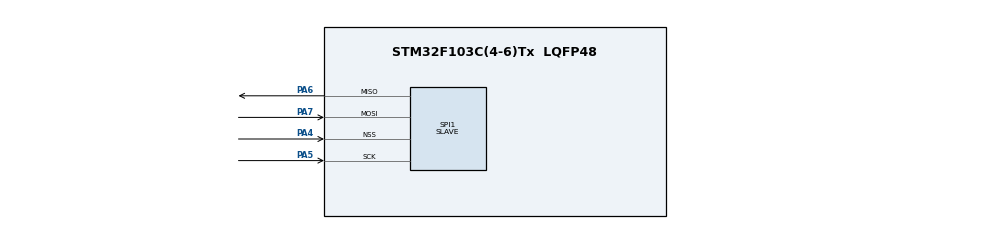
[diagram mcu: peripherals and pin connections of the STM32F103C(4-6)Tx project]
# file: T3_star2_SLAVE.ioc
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Mcu.Family=STM32F1
Mcu.Name=STM32F103C(4-6)Tx
Mcu.Package=LQFP48
NVIC.PriorityGroup=NVIC_PRIORITYGROUP_4
PA4.Mode=NSS_Signal_Hard_Input
PA4.Signal=SPI1_NSS
PA5.Mode=Full_Duplex_Slave
PA5.Signal=SPI1_SCK
PA6.Mode=Full_Duplex_Slave
PA6.Signal=SPI1_MISO
PA7.Mode=Full_Duplex_Slave
PA7.Signal=SPI1_MOSI
ProjectManager.HeapSize=0x200
ProjectManager.StackSize=0x400
ProjectManager.TargetToolchain=STM32CubeIDE
RCC.APB1Freq_Value=8000000
RCC.APB2Freq_Value=8000000
SPI1.Direction=SPI_DIRECTION_2LINES
SPI1.Mode=SPI_MODE_SLAVE
SPI1.VirtualNSS=VM_NSSHARD
SPI1.VirtualType=VM_SLAVE
VP_SYS_VS_ND.Mode=No_Debug
board=custom

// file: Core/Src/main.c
/* USER CODE BEGIN Header */
/**
  ******************************************************************************
  * @file           : main.c
  * @brief          : Main program body
  ******************************************************************************
  * @attention
  *
  * Copyright (c) 2025 STMicroelectronics.
  * All rights reserved.
  *
  * This software is licensed under terms that can be found in the LICENSE file
  * in the root directory of this software component.
  * If no LICENSE file comes with this software, it is provided AS-IS.
  *
  ******************************************************************************
  */
/* USER CODE END Header */
#include "main.h"

/* USER CODE BEGIN PTD */
typedef struct {
    uint16_t case_id;
    float voltage;
    uint16_t speed;
} Case_t;

Case_t cases[5] = {
    {0x1001, 12.3, 200},
    {0x1002, 14.2, 150},
    {0x1003, 13.8, 100},
    {0x1004, 11.5, 220},
    {0x1005, 10.9, 280}
};

/* USER CODE END PTD */

SPI_HandleTypeDef hspi1;

void SystemClock_Config(void);
static void MX_GPIO_Init(void);
static void MX_SPI1_Init(void);

/* USER CODE BEGIN 0 */
static uint32_t encode_data(float voltage, uint16_t speed) {
  uint16_t v = (uint16_t)(voltage * 10.0f); // 12.3 -> 123
  return (((uint32_t)v) << 12) | (speed & 0x0FFF);
}
/* USER CODE END 0 */

int main(void)
{

  /* MCU Configuration--------------------------------------------------------*/

  /* Reset of all peripherals, Initializes the Flash interface and the Systick. */
  HAL_Init();

  /* Configure the system clock */
  SystemClock_Config();

  /* Initialize all configured peripherals */
  MX_GPIO_Init();
  MX_SPI1_Init();
  hspi1.Init.NSS = SPI_NSS_HARD_INPUT;
  HAL_SPI_Init(&hspi1);
  /* USER CODE BEGIN 2 */

    uint8_t rx_case_id[2];
    uint8_t tx_data[3];
    uint8_t dummy_rx[3];
    uint8_t tx_dummy[2] = {0xFF, 0xFF};
    uint8_t rx_dummy[2] = {0xFF, 0xFF};

  /* USER CODE END 2 */

  /* Infinite loop */
  /* USER CODE BEGIN WHILE */
    while (1)
    {
        HAL_SPI_TransmitReceive(&hspi1, tx_dummy, rx_case_id, 2, HAL_MAX_DELAY);

        uint16_t case_id = ((uint16_t)rx_case_id[0] << 8) | rx_case_id[1];

        // Lookup case
        uint32_t encoded = 0;
        for (int i = 0; i < 5; i++)
        {
            if (cases[i].case_id == case_id)
            {
                uint16_t v = (uint16_t)(cases[i].voltage * 10.0f);
                encoded = ((uint32_t)v << 12) | (cases[i].speed & 0x0FFF);
                break;
            }
        }

        uint8_t tx_data[3] = {
            (encoded >> 16) & 0xFF,
            (encoded >> 8) & 0xFF,
            encoded & 0xFF};

        HAL_SPI_Transmit(&hspi1, tx_data, 3, HAL_MAX_DELAY);
    }
  /* USER CODE END 3 */
}

void SystemClock_Config(void)
{
  RCC_OscInitTypeDef RCC_OscInitStruct = {0};
  RCC_ClkInitTypeDef RCC_ClkInitStruct = {0};

  /** Initializes the RCC Oscillators according to the specified parameters
  * in the RCC_OscInitTypeDef structure.
  */
  RCC_OscInitStruct.OscillatorType = RCC_OSCILLATORTYPE_HSI;
  RCC_OscInitStruct.HSIState = RCC_HSI_ON;
  RCC_OscInitStruct.HSICalibrationValue = RCC_HSICALIBRATION_DEFAULT;
  RCC_OscInitStruct.PLL.PLLState = RCC_PLL_NONE;
  if (HAL_RCC_OscConfig(&RCC_OscInitStruct) != HAL_OK)
  {
    Error_Handler();
  }

  /** Initializes the CPU, AHB and APB buses clocks
  */
  RCC_ClkInitStruct.ClockType = RCC_CLOCKTYPE_HCLK|RCC_CLOCKTYPE_SYSCLK
                              |RCC_CLOCKTYPE_PCLK1|RCC_CLOCKTYPE_PCLK2;
  RCC_ClkInitStruct.SYSCLKSource = RCC_SYSCLKSOURCE_HSI;
  RCC_ClkInitStruct.AHBCLKDivider = RCC_SYSCLK_DIV1;
  RCC_ClkInitStruct.APB1CLKDivider = RCC_HCLK_DIV1;
  RCC_ClkInitStruct.APB2CLKDivider = RCC_HCLK_DIV1;

  if (HAL_RCC_ClockConfig(&RCC_ClkInitStruct, FLASH_LATENCY_0) != HAL_OK)
  {
    Error_Handler();
  }
}

static void MX_SPI1_Init(void)
{

  /* SPI1 parameter configuration*/
  hspi1.Instance = SPI1;
  hspi1.Init.Mode = SPI_MODE_SLAVE;
  hspi1.Init.Direction = SPI_DIRECTION_2LINES;
  hspi1.Init.DataSize = SPI_DATASIZE_8BIT;
  hspi1.Init.CLKPolarity = SPI_POLARITY_LOW;
  hspi1.Init.CLKPhase = SPI_PHASE_1EDGE;
  hspi1.Init.NSS = SPI_NSS_HARD_INPUT;
  hspi1.Init.FirstBit = SPI_FIRSTBIT_MSB;
  hspi1.Init.TIMode = SPI_TIMODE_DISABLE;
  hspi1.Init.CRCCalculation = SPI_CRCCALCULATION_DISABLE;
  hspi1.Init.CRCPolynomial = 10;
  if (HAL_SPI_Init(&hspi1) != HAL_OK)
  {
    Error_Handler();
  }

}

static void MX_GPIO_Init(void)
{

  /* GPIO Ports Clock Enable */
  __HAL_RCC_GPIOA_CLK_ENABLE();

}

void Error_Handler(void)
{
  __disable_irq();
  while (1)
  {
  }
}
